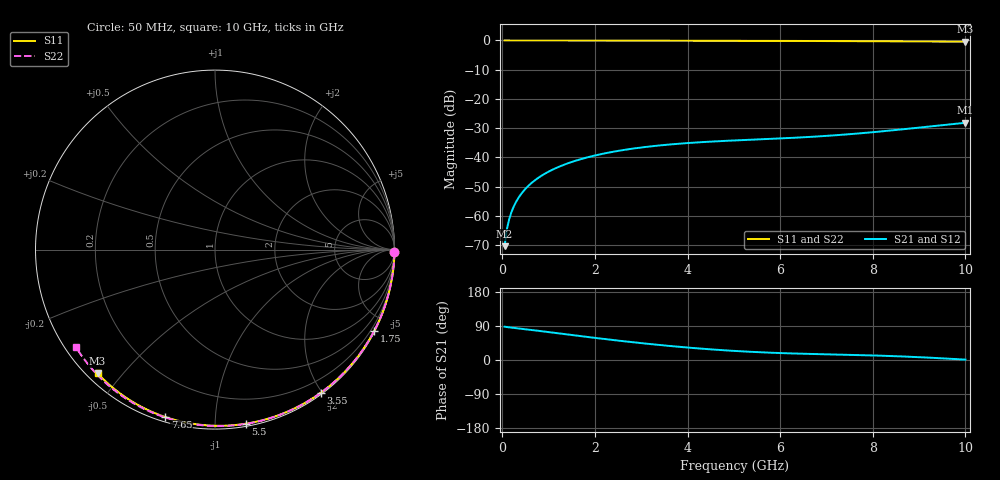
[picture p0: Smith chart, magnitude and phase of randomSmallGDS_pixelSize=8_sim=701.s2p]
! freq	dB(S11)	phase(S11)	dB(S12)	phase(S12)
!  dB(S21)	phase(S21)	dB(S22)	phase(S22)
!S-par simulation data
#  GHz  S  DB  R 50
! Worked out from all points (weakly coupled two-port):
!   200 points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, 50 MHz to 10 GHz, reference 50 ohm
!   highest |S21| = -28.15 dB at 10 GHz (marker M1); lowest = -70.3 dB at 50 MHz (marker M2)
!   lowest |S11| = -0.4 dB at 10 GHz (marker M3), VSWR 39.16, Z = 1.51 - j21.5 ohm
!   |S11| at or under -10 dB: nowhere
!   |S22| runs from -0.5 to 0.0 dB; largest |S21 - S12| = 0
!   S11 on the Smith chart (normalised r, x): 50 MHz: open; 1.75 GHz: 0.04, -4.16; 3.55 GHz: 0.02, -1.99; 5.5 GHz: 0.02, -1.19; 7.65 GHz: 0.02, -0.75; 10 GHz: 0.03, -0.43
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0.05  -0.00 -0.8  -70.34 88.0  -70.34 88.0  -0.00 -0.9
0.1  -0.00 -1.6  -64.46 86.9  -64.46 86.9  -0.00 -1.7
0.15  -0.00 -2.4  -61.03 86.2  -61.03 86.2  -0.00 -2.6
0.2  -0.00 -3.1  -58.58 85.5  -58.58 85.5  -0.00 -3.4
0.25  -0.00 -3.9  -56.68 84.9  -56.68 84.9  -0.00 -4.3
0.35  -0.00 -5.5  -53.80 83.5  -53.80 83.5  -0.00 -6.0
0.5  -0.01 -7.8  -50.74 81.3  -50.74 81.3  -0.01 -8.5
0.7  -0.01 -10.9  -47.87 78.3  -47.87 78.3  -0.01 -11.9
1  -0.02 -15.6  -44.86 73.6  -44.86 73.6  -0.02 -16.9
1.35  -0.03 -20.9  -42.39 68.2  -42.39 68.2  -0.03 -22.8
1.75  -0.03 -27.0  -40.35 62.1  -40.35 62.1  -0.04 -29.4
2.5  -0.05 -38.2  -37.76 51.2  -37.76 51.2  -0.05 -41.6
3.4  -0.07 -51.3  -35.89 39.6  -35.89 39.6  -0.07 -55.7
3.55  -0.07 -53.4  -35.66 37.8  -35.66 37.8  -0.08 -58.0
4.3  -0.09 -63.9  -34.78 29.9  -34.78 29.9  -0.10 -69.3
5.05  -0.11 -74.0  -34.16 23.7  -34.16 23.7  -0.12 -80.2
5.5  -0.13 -79.9  -33.85 20.8  -33.85 20.8  -0.14 -86.6
6.7  -0.18 -95.1  -32.93 15.8  -32.93 15.8  -0.20 -102.9
7.65  -0.24 -106.5  -31.86 13.2  -31.86 13.2  -0.26 -115.3
8.35  -0.29 -114.7  -30.85 10.7  -30.85 10.7  -0.31 -124.2
9.2  -0.36 -124.5  -29.48 6.3  -29.48 6.3  -0.39 -134.8
10  -0.44 -133.5  -28.15 1.0  -28.15 1.0  -0.48 -144.8
